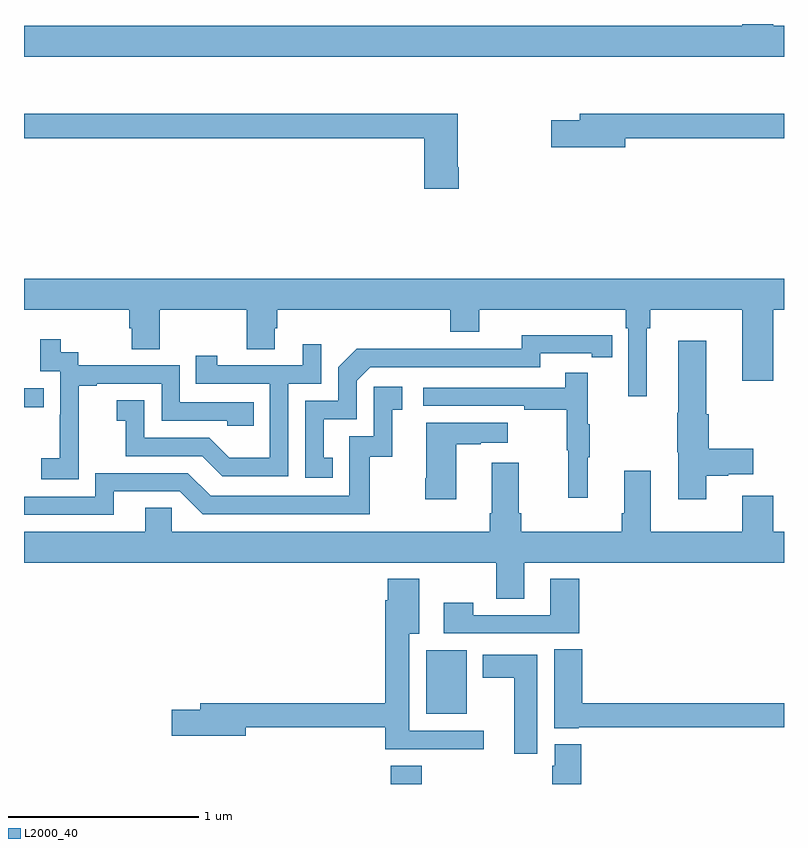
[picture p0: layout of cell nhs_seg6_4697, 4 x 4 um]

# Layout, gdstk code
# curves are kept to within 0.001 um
import gdstk
lib = gdstk.Library(unit=1e-6, precision=1e-09)
def R(c, l, rs):  # rectangles x0, y0, x1, y1
    for r in rs: c.add(gdstk.rectangle(r[:2], r[2:], *l))
def P(c, l, *ps):  # polygons
    for p in ps: c.add(gdstk.Polygon(p, *l))
L2000_40 = (2000, 40)

nhs_seg6_4697 = lib.new_cell('nhs_seg6_4697')
R(nhs_seg6_4697, L2000_40, [(390.929,951.5,391.094,951.595), (391.118,951.869,391.33,952.204), (389,953.482,389.105,953.583)])
P(nhs_seg6_4697, L2000_40, [(393,955.492),(392.944,955.492),(392.944,955.5),(392.78,955.5),(392.78,955.492),(389,955.492),(389,955.328),(393,955.328)],
  [(392.164,954.898),(393,954.898),(393,955.027),(391.925,955.027),(391.925,954.993),(391.776,954.993),(391.776,954.851),(392.164,954.851)],
  [(391.289,954.745),(391.284,954.745),(391.284,955.027),(389,955.027),(389,954.898),(391.106,954.898),(391.106,954.633),(391.289,954.633)],
  [(392.278,953.9),(392.297,953.9),(392.297,953.996),(392.78,953.996),(392.78,953.622),(392.944,953.622),(392.944,953.996),(393,953.996),(393,954.16),(389,954.16),(389,953.996),(389.555,953.996),(389.555,953.898),(389.567,953.898),(389.567,953.788),(389.715,953.788),(389.715,953.996),(390.172,953.996),(390.172,953.788),(390.319,953.788),(390.319,953.898),(390.332,953.898),(390.332,953.996),(391.244,953.996),(391.244,953.879),(391.396,953.879),(391.396,953.996),(392.168,953.996),(392.168,953.9),(392.181,953.9),(392.181,953.541),(392.278,953.541)],
  [(390.626,953.217),(390.577,953.217),(390.577,953.421),(390.75,953.421),(390.75,953.622),(390.822,953.694),(391.716,953.694),(391.716,953.766),(391.988,953.766),(391.988,953.746),(392.096,953.746),(392.096,953.862),(391.62,953.863),(391.62,953.79),(391.16,953.79),(391.16,953.792),(390.752,953.792),(390.654,953.694),(390.654,953.517),(390.48,953.517),(390.48,953.112),(390.626,953.112)],
  [(389.289,953.311),(389.288,953.311),(389.288,953.595),(389.383,953.595),(389.383,953.607),(389.724,953.607),(389.724,953.412),(390.069,953.412),(390.069,953.385),(390.209,953.385),(390.209,953.508),(389.82,953.508),(389.82,953.703),(389.286,953.703),(389.286,953.772),(389.194,953.772),(389.194,953.842),(389.085,953.842),(389.085,953.673),(389.19,953.673),(389.19,953.444),(389.189,953.444),(389.189,953.215),(389.091,953.215),(389.091,953.105),(389.289,953.105)],
  [(392.59,953.122),(392.706,953.122),(392.706,953.129),(392.839,953.129),(392.839,953.264),(392.603,953.264),(392.603,953.447),(392.59,953.447),(392.59,953.833),(392.444,953.833),(392.444,953.453),(392.437,953.453),(392.437,953.247),(392.444,953.247),(392.444,952.998),(392.59,952.998)],
  [(390.39,953.607),(390.564,953.607),(390.564,953.815),(390.467,953.815),(390.467,953.703),(390.016,953.703),(390.016,953.755),(389.905,953.755),(389.905,953.607),(390.294,953.607),(390.294,953.218),(390.08,953.218),(389.976,953.322),(389.634,953.322),(389.634,953.521),(389.487,953.521),(389.487,953.411),(389.536,953.411),(389.536,953.226),(389.939,953.226),(390.044,953.121),(390.39,953.121)],
  [(391.967,953.219),(391.978,953.219),(391.978,953.393),(391.967,953.393),(391.967,953.665),(391.849,953.665),(391.849,953.586),(391.101,953.586),(391.101,953.49),(391.633,953.49),(391.633,953.47),(391.857,953.47),(391.857,953.256),(391.864,953.256),(391.864,953.007),(391.967,953.007)],
  [(389.473,953.04),(389.82,953.04),(389.94,952.92),(390.82,952.92),(390.82,953.223),(390.938,953.223),(390.938,953.469),(390.991,953.469),(390.991,953.59),(390.84,953.59),(390.84,953.331),(390.711,953.331),(390.711,953.016),(389.982,953.016),(389.862,953.136),(389.376,953.136),(389.376,953.013),(389,953.013),(389,952.917),(389.473,952.917)],
  [(391.276,953.287),(391.403,953.287),(391.403,953.297),(391.546,953.297),(391.546,953.401),(391.118,953.401),(391.118,953.11),(391.111,953.11),(391.111,952.998),(391.276,952.998)],
  [(391.633,952.664),(393,952.664),(393,952.828),(392.944,952.828),(392.944,953.017),(392.78,953.017),(392.78,952.828),(392.299,952.828),(392.299,953.149),(392.159,953.149),(392.159,952.924),(392.147,952.924),(392.147,952.828),(391.616,952.828),(391.616,952.924),(391.603,952.924),(391.603,953.191),(391.463,953.191),(391.463,952.924),(391.451,952.924),(391.451,952.828),(389.778,952.828),(389.778,952.955),(389.639,952.955),(389.639,952.828),(389,952.828),(389,952.664),(391.486,952.664),(391.486,952.474),(391.633,952.474)],
  [(391.42,951.78),(391.027,951.78),(391.027,952.292),(391.081,952.292),(391.081,952.579),(390.914,952.579),(390.914,952.466),(390.902,952.466),(390.902,951.926),(389.927,951.926),(389.927,951.89),(389.778,951.89),(389.778,951.755),(390.166,951.755),(390.166,951.798),(390.902,951.798),(390.902,951.683),(391.42,951.683)],
  [(391.922,952.579),(391.769,952.579),(391.769,952.389),(391.365,952.389),(391.365,952.453),(391.209,952.453),(391.209,952.293),(391.922,952.293)],
  [(391.92,951.798),(393,951.798),(393,951.926),(391.937,951.926),(391.937,952.208),(391.79,952.208),(391.79,951.794),(391.92,951.794)],
  [(391.702,952.18),(391.415,952.18),(391.415,952.058),(391.58,952.058),(391.58,951.66),(391.702,951.66)],
  [(391.934,951.709),(391.793,951.709),(391.793,951.597),(391.781,951.597),(391.781,951.5),(391.934,951.5)])

lib.write_gds('nhs_seg6_4697.gds')
